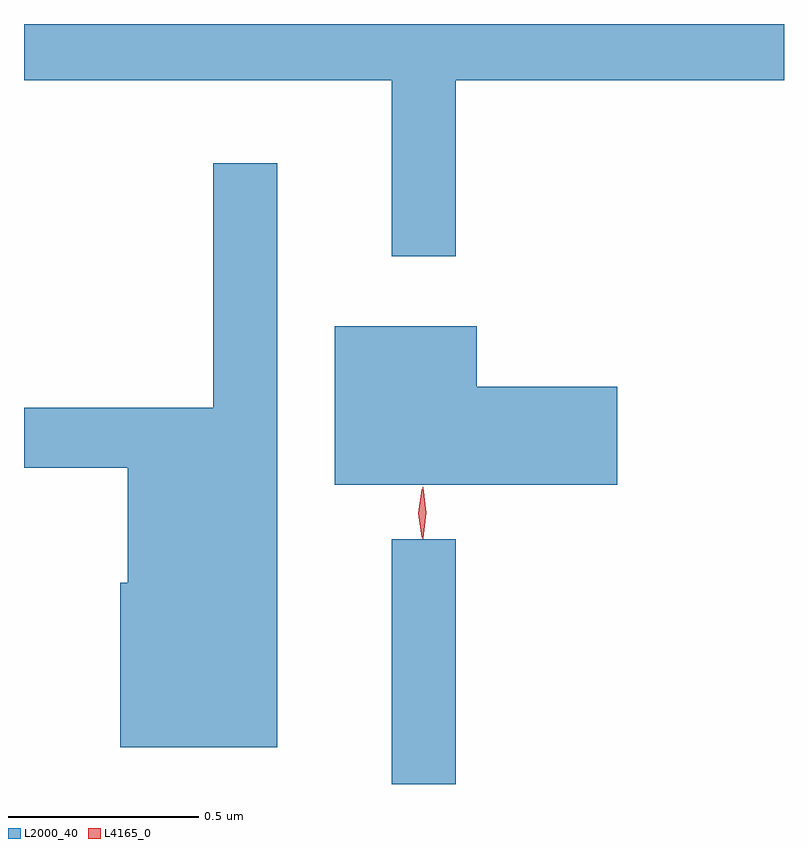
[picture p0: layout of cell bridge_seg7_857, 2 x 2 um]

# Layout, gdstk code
import gdstk
lib = gdstk.Library(unit=1e-6, precision=1e-09)
def R(c, l, rs):  # rectangles x0, y0, x1, y1
    for r in rs: c.add(gdstk.rectangle(r[:2], r[2:], *l))
def P(c, l, *ps):  # polygons
    for p in ps: c.add(gdstk.Polygon(p, *l))
L2000_40 = (2000, 40)
L4165_0 = (4165, 0)

bridge_seg7_857 = lib.new_cell('bridge_seg7_857')
R(bridge_seg7_857, L2000_40, [(278.541,1745.764,278.709,1746.408)])
P(bridge_seg7_857, L2000_40, [(278.709,1747.616),(279.573,1747.616),(279.573,1747.764),(277.573,1747.764),(277.573,1747.616),(278.541,1747.616),(278.541,1747.153),(278.709,1747.153)],
  [(278.239,1747.398),(278.071,1747.398),(278.071,1746.754),(277.573,1746.754),(277.573,1746.596),(277.846,1746.596),(277.846,1746.294),(277.826,1746.294),(277.826,1745.861),(278.239,1745.861)],
  [(279.134,1746.809),(278.764,1746.809),(278.764,1746.969),(278.391,1746.969),(278.391,1746.551),(279.134,1746.551)])
P(bridge_seg7_857, L4165_0, [(278.622,1746.41),(278.613,1746.478),(278.622,1746.545),(278.622,1746.546),(278.623,1746.545),(278.632,1746.478),(278.623,1746.41),(278.623,1746.41)],
  [(278.621,1746.413),(278.62,1746.414),(278.61,1746.476),(278.62,1746.54),(278.62,1746.54),(278.621,1746.54),(278.63,1746.476),(278.621,1746.414)])

lib.write_gds('bridge_seg7_857.gds')
